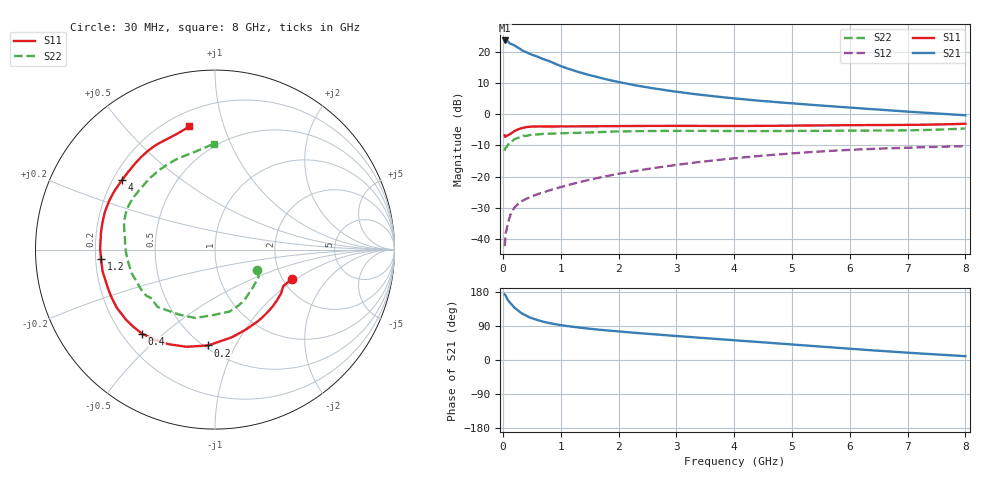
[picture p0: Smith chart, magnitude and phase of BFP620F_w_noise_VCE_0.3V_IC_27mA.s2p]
! Infineon Technologies  Discrete & RF Semiconductors
! BFP620F
! VCE =  0.3 V,  IC =  27 mA
! Common Emitter S-Parameters:  Dec 2014
# GHz  S  MA  R  50
!  f  S11  S21  S12  S22
! GHz  MAG  ANG  MAG  ANG  MAG  ANG  MAG  ANG
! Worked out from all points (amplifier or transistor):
!   95 points, 30 MHz to 8 GHz, reference 50 ohm
!   highest |S21| = 23.6 dB at 30 MHz (marker M1)
!   |S21| within 3 dB of that: start of sweep to 321.3 MHz
!   unconditionally stable (mu >= 1): start of sweep to 131.5 MHz; 1.224 GHz to end of sweep
!   at 300 MHz: K = 0.70, MSG = 24.5 dB, |S12| = -28.2 dB
!   at 3.3 GHz: K = 1.10, MAG = 9.1 dB, |S12| = -15.6 dB
!   at 8 GHz: K = 1.12, MAG = 2.8 dB, |S12| = -10.3 dB
!   lowest NFmin = 1.05 dB at 450 MHz
!   S11 on the Smith chart (normalised r, x): 30 MHz: 2.24, -0.93; 200 MHz: 0.52, -0.78; 400 MHz: 0.28, -0.43; 1.2 GHz: 0.22, -0.04; 4 GHz: 0.24, +0.32; 8 GHz: 0.28, +0.77
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0.03  0.4593 -20.8  15.12 173.2  0.0077 49.1  0.2593 -26.1
0.04  0.4312 -28.0  14.23 171.5  0.0095 57.6  0.286 -31.4
0.06  0.4463 -39.2  14.92 166.6  0.0134 62.9  0.2962 -43.1
0.08  0.4554 -49.9  14.71 160.2  0.0163 58.5  0.3137 -54.8
0.1  0.4656 -59.6  14.16 155.6  0.0194 60.0  0.3361 -66.2
0.12  0.4767 -68.4  13.57 151.7  0.0222 58.2  0.3549 -77.3
0.2  0.5353 -94.0  12.58 138.2  0.0319 52.2  0.3961 -105.9
0.3  0.5874 -116.2  11.05 125.9  0.0388 47.7  0.4293 -127.6
0.35  0.6041 -124.1  10.26 121.1  0.0416 47.3  0.4521 -135.0
0.4  0.6202 -131.0  9.845 117.6  0.0439 46.5  0.4474 -143.2
0.5  0.631 -141.4  8.968 110.5  0.0483 46.3  0.4682 -152.0
0.7  0.635 -155.6  7.59 101.0  0.056 47.4  0.483 -164.4
0.9  0.6343 -165.1  6.443 94.6  0.0638 49.0  0.4896 -172.8
1.2  0.6382 -175.1  5.089 87.9  0.0763 50.8  0.5008 178.0
1.4  0.6398 180.0  4.472 84.2  0.0847 51.4  0.5052 173.2
1.9  0.6424 170.2  3.422 76.7  0.1066 51.6  0.5259 164.6
2.7  0.6481 158.7  2.513 66.9  0.1409 48.8  0.5378 156.3
4  0.6467 143.0  1.787 52.1  0.196 40.9  0.5366 143.8
4.1  0.6471 141.9  1.753 51.0  0.2004 40.1  0.5366 142.7
5.4  0.6596 128.6  1.397 36.5  0.2494 29.8  0.5398 126.8
6.7  0.6703 115.2  1.147 22.4  0.2843 18.5  0.548 109.8
8  0.7018 102.0  0.959 10.0  0.3066 8.1  0.5898 90.8
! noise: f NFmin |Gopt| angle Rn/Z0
0.45  1.05  0.02  -178  0.19
0.9  1.09  0.03  -171  0.15
1.5  1.1  0.05  -151  0.16
1.8  1.12  0.06  -148  0.17
1.9  1.12  0.07  -148  0.16
2.4  1.14  0.08  -147  0.16
3.5  1.21  0.11  -143  0.17
5.5  1.36  0.19  238  0.12
6  1.4  0.2  259  0.15
